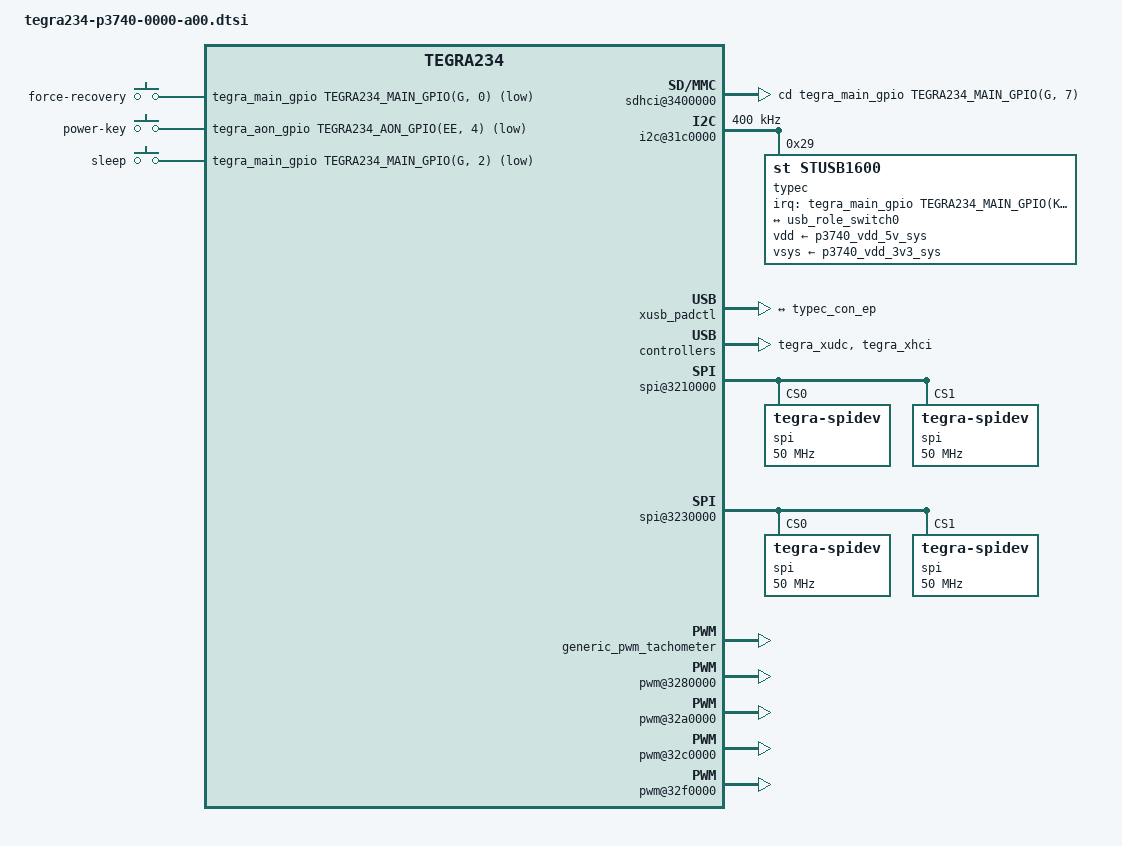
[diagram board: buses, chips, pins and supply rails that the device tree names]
/*
 * Copyright (c) 2021, NVIDIA CORPORATION.  All rights reserved.
 *
 * This program is free software; you can redistribute it and/or modify
 * it under the terms of the GNU General Public License as published by
 * the Free Software Foundation; version 2 of the License.
 *
 * This program is distributed in the hope that it will be useful, but WITHOUT
 * ANY WARRANTY; without even the implied warranty of MERCHANTABILITY or
 * FITNESS FOR A PARTICULAR PURPOSE.  See the GNU General Public License for
 * more details.
 */
#include <dt-bindings/gpio/tegra234-gpio.h>
#include "dt-bindings/input/input.h"
#include "tegra234-pwm-fan.dtsi"
#include "tegra234-p3740-audio.dtsi"
#include "tegra234-p3740-fixed-regulator.dtsi"
#include "tegra234-p3740-pcie.dtsi"
#include "tegra234-p3740-camera-modules.dtsi"

/ {
	gpio-keys {
		compatible = "gpio-keys";
		gpio-keys,name = "gpio-keys";
		status = "okay";

		forcerecovery {
			label = "force-recovery";
			gpios = <&tegra_main_gpio TEGRA234_MAIN_GPIO(G, 0) GPIO_ACTIVE_LOW>;
			linux,code = <BTN_1>;
		};

		power_key {
			label = "power-key";
			gpios = <&tegra_aon_gpio TEGRA234_AON_GPIO(EE, 4) GPIO_ACTIVE_LOW>;
			linux,code = <KEY_POWER>;
			gpio-key,wakeup;
		};

		sleep {
			label = "sleep";
			gpios = <&tegra_main_gpio TEGRA234_MAIN_GPIO(G, 2) GPIO_ACTIVE_LOW>;
			linux,code = <KEY_SLEEP>;
		};
	};

	soft_wdt:soft_watchdog {
		compatible = "softdog-platform";
		status = "okay";
	};

	eeprom-manager {
		data-size = <0x100>;
		bus@0 {
			i2c-bus = <&gen1_i2c>;
			eeprom@1 {
				slave-address = <0x56>;
				label = "cvb";
			};
		};

		bus@1 {
			i2c-bus = <&gen2_i2c>;
			eeprom@1 {
				slave-address = <0x50>;
				label = "super-module";
			};
		};
	};

	ufshci@2500000 {
		status = "okay";
	};

	sdhci@3400000 {
		disable-wp;
		no-sdio;
		nvidia,cd-wakeup-capable;
		no-mmc;
		nvidia,boot-detect-delay = <1000>;
		cd-gpios = <&tegra_main_gpio TEGRA234_MAIN_GPIO(G, 7) 0>;
		status = "okay";
	};

	/* I2C7 */
	i2c@31c0000 {
		status = "okay";
		clock-frequency = <400000>;

		typec: stusb1600@29 {
			status = "okay";
			compatible = "st,stusb1600";
			reg = <0x29>;
			vdd-supply = <&p3740_vdd_5v_sys>;
			vsys-supply = <&p3740_vdd_3v3_sys>;
			interrupt-parent = <&tegra_main_gpio>;
			interrupts = <TEGRA234_MAIN_GPIO(K, 6) IRQ_TYPE_LEVEL_LOW>;
			typec_con: connector {
				compatible = "usb-c-connector";
				label = "USB-C";
				data-role = "dual";
				power-role = "dual";
				typec-power-opmode = "default";

				port {
					typec_con_ep: endpoint {
						remote-endpoint = <&usb_role_switch0>;
					};
				};
			};
		};
	};

	xusb_padctl: xusb_padctl@3520000 {
		status = "okay";
		pads {
			usb2 {
				lanes {
					usb2-0 {
						nvidia,function = "xusb";
						status = "okay";
					};
					usb2-1 {
						nvidia,function = "xusb";
						status = "okay";
					};
					usb2-2 {
						nvidia,function = "xusb";
						status = "okay";
					};
					usb2-3 {
						nvidia,function = "xusb";
						status = "okay";
					};
				};
			};
			usb3 {
				lanes {
					usb3-0 {
						nvidia,function = "xusb";
						status = "okay";
					};
					usb3-1 {
						nvidia,function = "xusb";
						status = "okay";
					};
					usb3-2 {
						nvidia,function = "xusb";
						status = "okay";
					};
				};
			};
		};

		ports {
			usb2-0 {
				mode = "otg";
				usb-role-switch;
				status = "okay";
				port {
					usb_role_switch0: endpoint {
						remote-endpoint = <&typec_con_ep>;
					};
				};
			};
			usb2-1 {
				mode = "host";
				status = "okay";
			};
			usb2-2 {
				mode = "host";
				status = "okay";
			};
			usb2-3 {
				mode = "host";
				status = "okay";
			};
			usb3-0 {
				nvidia,usb2-companion = <1>;
				status = "okay";
			};
			usb3-1 {
				nvidia,usb2-companion = <0>;
				status = "okay";
			};
			usb3-2 {
				nvidia,usb2-companion = <2>;
				status = "okay";
			};
		};
	};

	tegra_xudc: xudc@3550000 {
		status = "okay";
		phys = <&{/xusb_padctl@3520000/pads/usb2/lanes/usb2-0}>,
			<&{/xusb_padctl@3520000/pads/usb3/lanes/usb3-1}>;
		phy-names = "usb2-0", "usb3-1";
		nvidia,xusb-padctl = <&xusb_padctl>;
		nvidia,boost_cpu_freq = <1200>;
	};

	tegra_xhci: xhci@3610000 {
		status = "okay";
		phys = <&{/xusb_padctl@3520000/pads/usb2/lanes/usb2-0}>,
			<&{/xusb_padctl@3520000/pads/usb2/lanes/usb2-1}>,
			<&{/xusb_padctl@3520000/pads/usb2/lanes/usb2-2}>,
			<&{/xusb_padctl@3520000/pads/usb2/lanes/usb2-3}>,
			<&{/xusb_padctl@3520000/pads/usb3/lanes/usb3-0}>,
			<&{/xusb_padctl@3520000/pads/usb3/lanes/usb3-1}>,
			<&{/xusb_padctl@3520000/pads/usb3/lanes/usb3-2}>;
		phy-names = "usb2-0", "usb2-1", "usb2-2", "usb2-3",
			"usb3-0", "usb3-1", "usb3-2";
		nvidia,xusb-padctl = <&xusb_padctl>;
	};

	spi@3210000{ /* SPI1 in 40 pin conn */
		status = "okay";
		spi@0 { /* chip select 0 */
			compatible = "tegra-spidev";
			reg = <0x0>;
			spi-max-frequency = <50000000>;
			controller-data {
				nvidia,enable-hw-based-cs;
				nvidia,rx-clk-tap-delay = <0x10>;
				nvidia,tx-clk-tap-delay = <0x0>;
			};
		};
		spi@1 { /* chip select 1 */
			compatible = "tegra-spidev";
			reg = <0x1>;
			spi-max-frequency = <50000000>;
			controller-data {
				nvidia,enable-hw-based-cs;
				nvidia,rx-clk-tap-delay = <0x10>;
				nvidia,tx-clk-tap-delay = <0x0>;
			};
		};
	};

	spi@3230000{ /* SPI3 in 40 pin conn */
		status = "okay";
		spi@0 { /* chip select 0 */
			compatible = "tegra-spidev";
			reg = <0x0>;
			spi-max-frequency = <50000000>;
			controller-data {
				nvidia,enable-hw-based-cs;
				nvidia,rx-clk-tap-delay = <0x10>;
				nvidia,tx-clk-tap-delay = <0x0>;
			};
		};
		spi@1 { /* chips select 1 */
			compatible = "tegra-spidev";
			reg = <0x1>;
			spi-max-frequency = <50000000>;
			controller-data {
				nvidia,enable-hw-based-cs;
				nvidia,rx-clk-tap-delay = <0x10>;
				nvidia,tx-clk-tap-delay = <0x0>;
			};
		};
	};

	mttcan@c310000 {
		status = "okay";
	};

	mttcan@c320000 {
		status = "okay";
	};

	serial@3110000 {
		status = "disabled";
	};

	tachometer@39c0000 {
		status = "okay";
		upper-threshold = <0xfffff>;
		lower-threshold = <0x0>;
	};

	generic_pwm_tachometer {
		status = "okay";
	};

	pwm@3280000 {
		status = "okay";
	};

	pwm@32a0000 {
		status = "okay";
	};

	pwm@32c0000 {
		status = "okay";
	};

	pwm@32d0000 {
		status = "disabled";
	};

	pwm@32f0000 {
		status = "okay";
	};
	spi@c260000 {
		status = "disabled";
	};

	spi@3300000 {
		status = "disabled";
	};
};
